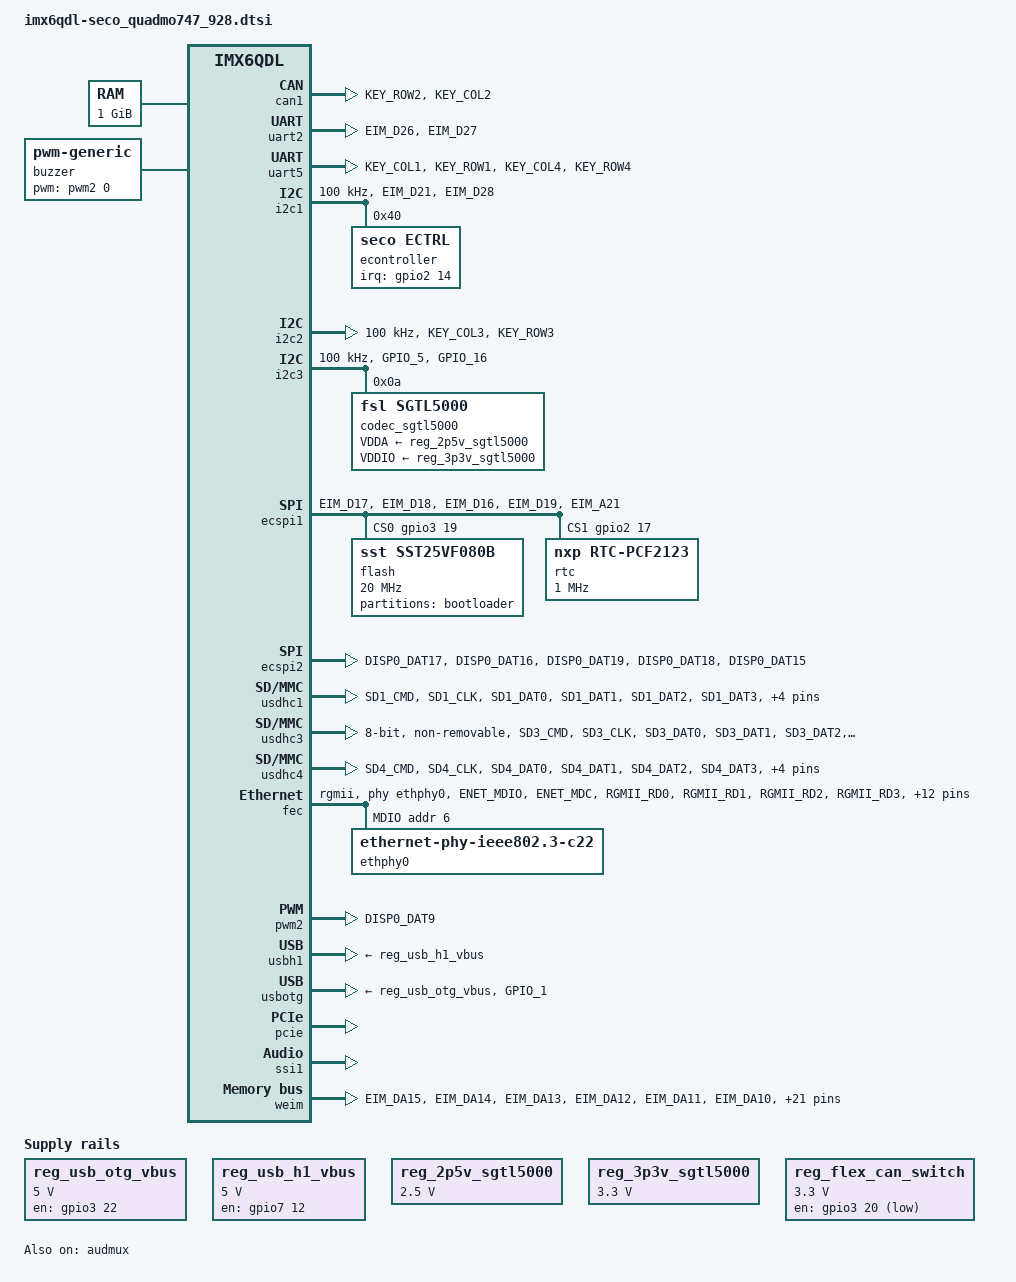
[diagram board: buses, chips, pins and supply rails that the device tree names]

#include <dt-bindings/gpio/gpio.h>
#include <dt-bindings/input/input.h>
#include <dt-bindings/pwm/pwm.h>
#include <dt-bindings/seco/ectrl.h>


/ {
	aliases {
		mxcfb0 = &mxcfb1;
		mxcfb1 = &mxcfb2;
		mxcfb2 = &mxcfb3;
		mxcfb3 = &mxcfb4;
		mmc0   = &usdhc3;
		mmc1   = &usdhc1;
		mmc2   = &usdhc4;
	};

	memory: memory {
		reg = <0x10000000 0x40000000>;
	};


/*  __________________________________________________________________________
 * |                                                                          |
 * |                                    POWER                                 |
 * |__________________________________________________________________________|
 */
	power_signal: power_signal {
		power-gpio = <&gpio2 13 0>;
	};
	

/*  __________________________________________________________________________
 * |                                                                          |
 * |                                 REGULATORS                               |
 * |__________________________________________________________________________|
 */
	regulators {
		compatible       = "simple-bus";
		#address-cells   = <1>;
		#size-cells      = <0>;

		reg_usb_otg_vbus: regulator@0 {
			compatible              = "regulator-fixed";
			reg                     = <0>;
			regulator-name          = "usb_otg_vbus";
			regulator-min-microvolt = <5000000>;
			regulator-max-microvolt = <5000000>;
			gpio                    = <&gpio3 22 0>;
			enable-active-high;
		};

		reg_usb_h1_vbus: regulator@1 {
			compatible              = "regulator-fixed";
			reg                     = <1>;
			regulator-name          = "usb_h1_vbus";
			pinctrl-0               = <&pinctrl_usb_reg>;
			regulator-min-microvolt = <5000000>;
			regulator-max-microvolt = <5000000>;
			gpio                    = <&gpio7 12 0>;
			enable-active-high;
			startup-delay-us        = <10>; /* USB2514 requires a POR of 1 us minimum */
		};

		reg_panel_on: regulator@2 {
			compatible              = "regulator-fixed";
			reg                     = <2>;
			regulator-name          = "reg_panel_on";
			regulator-min-microvolt = <3300000>;
			regulator-max-microvolt = <3300000>;
			gpio                    = <&gpio1 2 0>;
			enable-active-high;
			regulator-boot-on;
			regulator-always-on;
			status                  = "disabled";
		};

		reg_2p5v_sgtl5000: regulator@3 {
			compatible              = "regulator-fixed";
			reg                     = <3>;
			regulator-name          = "2P5V_sgtl5000";
			regulator-min-microvolt = <2500000>;
			regulator-max-microvolt = <2500000>;
			regulator-always-on;
			status                  = "okay";
		};

		reg_3p3v_sgtl5000: regulator@4 {
			compatible              = "regulator-fixed";
			reg                     = <4>;
			regulator-name          = "3P3V_sgtl5000";
			regulator-min-microvolt = <3300000>;
			regulator-max-microvolt = <3300000>;
			regulator-always-on;
			status                  = "okay";
		};


		/* select for mux between uart4 and flexcan (default is flexcan) */
		reg_uart_switch: regulator@5 {
			compatible              = "regulator-fixed";
			reg                     = <5>;
			regulator-name          = "uart4_enable";
			regulator-min-microvolt = <3300000>;
			regulator-max-microvolt = <3300000>;
			gpio                    = <&gpio3 20 0>;
			regulator-always-on;
			enable-active-high;
			status                  = "disabled";
		};

		reg_flex_can_switch: regulator@6 {
			compatible              = "regulator-fixed";
			reg                     = <6>;
			regulator-name          = "flexcan_enable";
			regulator-min-microvolt = <3300000>;
			regulator-max-microvolt = <3300000>;
			gpio                    = <&gpio3 20 0>;
			regulator-always-on;
			status                  = "okay";
		};

	};


/*  __________________________________________________________________________
 * |                                                                          |
 * |                                   VIDEO                                  |
 * |__________________________________________________________________________|
 */

	mxcfb1: fb@0 {
		compatible = "fsl,mxc_sdc_fb";
		disp_dev = "ldb";
		interface_pix_fmt = "RGB666";
		default_bpp = <16>;
		int_clk = <0>;
		late_init = <0>;
		status = "disabled";
	};

	mxcfb2: fb@1 {
		compatible = "fsl,mxc_sdc_fb";
		disp_dev = "hdmi";
		interface_pix_fmt = "RGB24";
		mode_str ="1920x1080M@60";
		default_bpp = <24>;
		int_clk = <0>;
		late_init = <0>;
		status = "disabled";
	};

	mxcfb3: fb@2 {
		compatible = "fsl,mxc_sdc_fb";
		disp_dev = "lcd";
		interface_pix_fmt = "RGB565";
		mode_str ="CLAA-WVGA";
		default_bpp = <16>;
		int_clk = <0>;
		late_init = <0>;
		status = "disabled";
	};

	mxcfb4: fb@3 {
		compatible = "fsl,mxc_sdc_fb";
		disp_dev = "ldb";
		interface_pix_fmt = "RGB666";
		default_bpp = <16>;
		int_clk = <0>;
		late_init = <0>;
		status = "disabled";
	};


	backlight: backlight {
		compatible               = "pwm-backlight";
		pwms                     = <&pwm1 0 5000000>;
		brightness-levels        = <0  4   8   12  16  20  24  28  32  36
		                            40  44  48  52  56  60  64  68  72  76
		                            80  84  88  92  96  100 104 108 112 116
		                            120 124 128 132 136 140 144 148 152 156
		                            160 164 168 172 176 180 184 188 192 196
		                            200 204 208 212 216 220 224 228 232 236
		                            240 244 248 252 255
		                           >;
		default-brightness-level = <64>;
		enable-gpios             = <&gpio1 4 0>;
		status                   = "disabled";
	};
};



/*  __________________________________________________________________________
 * |                                                                          |
 * |                                 CLOCKS                                   |
 * |__________________________________________________________________________|
 */
&clks {
	assigned-clocks =
		<&clks IMX6QDL_PLL4_BYPASS_SRC>,
 		<&clks IMX6QDL_PLL4_BYPASS>,
		<&clks IMX6QDL_CLK_EIM_SLOW_SEL>,
		<&clks IMX6QDL_CLK_EIM_SLOW_PODF>,
		<&clks IMX6QDL_CLK_PLL4_POST_DIV>;

	assigned-clock-parents =
		<&clks IMX6QDL_CLK_LVDS2_IN>,
		<&clks IMX6QDL_PLL4_BYPASS_SRC>,
		<&clks IMX6QDL_CLK_AXI>;

	assigned-clock-rates = <0>, <0>, <0>, <8>, <24576000>;
};



/*  __________________________________________________________________________
 * |                                                                          |
 * |                                    CAN                                   |
 * |__________________________________________________________________________|
 */
/*  Shared with UART4  */
&can1 {
	pinctrl-names = "default";
	pinctrl-0     = <&pinctrl_flexcan1>;
	status        = "okay";
};
/*  __________________________________________________________________________
 * |__________________________________________________________________________|
 */


/*  __________________________________________________________________________
 * |                                                                          |
 * |                                    UART                                  |
 * |__________________________________________________________________________|
 */
/*  Serial Debug  */
&uart2 {
	pinctrl-names = "default";
	pinctrl-0     = <&pinctrl_uart2>;
	status        = "okay";
};

/*  General Pourpose - shared with CAN1  */
&uart4 {
	pinctrl-names = "default";
	pinctrl-0     = <&pinctrl_uart4>;
	status        = "disabled";
};

/*  General Pourpose  */
&uart5 {
	pinctrl-names = "default";
	pinctrl-0     = <&pinctrl_uart5>;
	dma-names     = "","tx";
	status        = "okay";
};
/*  __________________________________________________________________________
 * |__________________________________________________________________________|
 */


/*  __________________________________________________________________________
 * |                                                                          |
 * |                            I2C INTERFACE/DEVICE                          |
 * |__________________________________________________________________________|
 */
&i2c1 {
	clock-frequency = <100000>;
	pinctrl-names   = "default";
	pinctrl-0       = <&pinctrl_i2c1>;
	status          = "okay";

	econtroller: ectrl@40 {
		compatible       = "seco,ectrl";
		reg              = <0x40>;

		interrupt-parent = <&gpio2>;
		interrupts       = <14 2>;

		events           = <ECTRL_EVNT_PWR_BTN  ECTRL_EVNT_RST_BTN
							ECTRL_EVNT_SLEEP  ECTRL_EVNT_BATTERY
							ECTRL_EVNT_LID  ECTRL_EVNT_WAKE
						>;

		boot_device {

			bootdev@0 {
				id    = <ECTRL_BOOTDEV_USDHC4>;
				label = "internal uSD";
			};

			bootdev@1 {
				id    = <ECTRL_BOOTDEV_USDHC1>;
				label = "external SD";
			};

			bootdev@2 {
				id    = <ECTRL_BOOTDEV_EMMC>;
				label = "on board eMMC";
			};

			bootdev@3 {
				id    = <ECTRL_BOOTDEV_SPI>;
				label = "on board SPI flash";
			};

		};

	};
};


&i2c2 {
	clock-frequency = <100000>;
	pinctrl-names   = "default";
	pinctrl-0       = <&pinctrl_i2c2>;
	status          = "okay";

	hdmi_edid: edid@50 {
		compatible = "fsl,imx6-hdmi-i2c";
		reg        = <0x50>;
		status     = "disabled";
	};

};


&i2c3 {
	clock-frequency = <100000>;
	pinctrl-names   = "default";
	pinctrl-0       = <&pinctrl_i2c3>;
	status          = "okay";

	codec_sgtl5000: sgtl5000@0a {
		compatible   = "fsl,sgtl5000";
		reg          = <0x0a>;
		clocks       = <&clks IMX6QDL_CLK_CKO>;
		VDDA-supply  = <&reg_2p5v_sgtl5000>;
		VDDIO-supply = <&reg_3p3v_sgtl5000>;
		status       = "okay";
	};

};
/*  __________________________________________________________________________
 * |__________________________________________________________________________|
 */


/*  __________________________________________________________________________
 * |                                                                          |
 * |                            SPI INTERFACE/DEVICE                          |
 * |__________________________________________________________________________|
 */
&ecspi1 {
	fsl,spi-num-chipselects = <2>;
	cs-gpios                = <&gpio3 19 0>, <&gpio2 17 0>;
	pinctrl-names           = "default";
	pinctrl-0               = <&pinctrl_ecspi1>;
	status                  = "okay";


	flash: m25p80@0 {
		#address-cells    = <1>;
		#size-cells       = <0>;

		compatible        = "sst,sst25vf080b", "jedec,spi-nor";
		reg               = <0>;
		spi-max-frequency = <20000000>;

		partitions {
			compatible = "fixed-partitions";
			#address-cells = <1>;
			#size-cells = <1>;

			partition@0 {
				label = "bootloader";
				reg   = <0x00000000 0x00100000>;
			};
		};
	};

	rtc: pcf2123@1 {
		compatible        = "nxp,rtc-pcf2123";
		reg               = <1>;
		spi-max-frequency = <1000000>;
		spi-cs-high;
    };

};


&ecspi2 {
	fsl,spi-num-chipselects = <2>;
	cs-gpios                = <&gpio5 12  0>, <&gpio5 9 0>;
	pinctrl-names           = "default";
	pinctrl-0               = <&pinctrl_ecspi2>;
	status                  = "okay";

//	spidev@0 {
//		compatible          = "spidev";
//		spi-max-frequency   = <1000000>;
//		reg                 = <0>;
//	};
};
/*  __________________________________________________________________________
 * |__________________________________________________________________________|
 */


/*  __________________________________________________________________________
 * |                                                                          |
 * |                                   USDHC                                  |
 * |__________________________________________________________________________|
 */
/*  external uSD  */
&usdhc1 {
	pinctrl-names = "default";
	pinctrl-0     = <&pinctrl_usdhc1>;
	cd-gpios      = <&gpio6 15 GPIO_ACTIVE_LOW>;
	wp-gpios      = <&gpio5 20 GPIO_ACTIVE_HIGH>;
	keep-power-in-suspend;
	enable-sdio-wakeup;
	no-1-8-v;
	status        = "okay";
};


/*  eMMC  */
&usdhc3 {
	pinctrl-names = "default";
	pinctrl-0     = <&pinctrl_usdhc3>;
	bus-width     = <8>;
	no-1-8-v;
	non-removable;
	keep-power-in-suspend;
	status        = "okay";
};


/*  uSD on board  */
&usdhc4 {
	pinctrl-names = "default";
	pinctrl-0     = <&pinctrl_usdhc4>;
	cd-gpios      = <&gpio2 6 GPIO_ACTIVE_LOW>;
	wp-gpios      = <&gpio2 7 GPIO_ACTIVE_HIGH>;
	keep-power-in-suspend;
	enable-sdio-wakeup;
	no-1-8-v;
	status        = "okay";
};
/*  __________________________________________________________________________
 * |__________________________________________________________________________|
 */


/*  __________________________________________________________________________
 * |                                                                          |
 * |                                  ETHERNET                                |
 * |__________________________________________________________________________|
 */
&fec {
	pinctrl-names        = "default";
	pinctrl-0            = <&pinctrl_enet>;
	phy-mode             = "rgmii";
	phy-reset-gpios      = <&gpio3 23 GPIO_ACTIVE_LOW>;
	phy-handle           = <&ethphy0>;
	phy-reset-duration   = <10>;
	phy-reset-post-delay = <100>;
	fsl,magic-packet;
	status             = "okay";

	mdio: mdio {
		#address-cells = <1>;
		#size-cells = <0>;

		ethphy0: ethernet-phy@6 {
			compatible = "ethernet-phy-ieee802.3-c22";
			reg = <6>;
			// interrupt-parent = <&gpio4>;
			// interrupts = <16 IRQ_TYPE_LEVEL_LOW>;
			status = "okay";
		};
	};
};
/*  __________________________________________________________________________
 * |__________________________________________________________________________|
 */



/*  __________________________________________________________________________
 * |                                                                          |
 * |                                     PWM                                  |
 * |__________________________________________________________________________|
 */
&pwm1 {
	pinctrl-names = "default";
	pinctrl-0     = <&pinctrl_pwm1>;
	status        = "disabled";
};


&pwm2 {
	pinctrl-names = "default";
	pinctrl-0     = <&pinctrl_pwm2>;
	status        = "okay";
};
/*  __________________________________________________________________________
 * |__________________________________________________________________________|
 */



/*  __________________________________________________________________________
 * |                                                                          |
 * |                                     USB                                  |
 * |__________________________________________________________________________|
 */
&usbh1 {
	vbus-supply = <&reg_usb_h1_vbus>;
	status      = "okay";
};


&usbotg {
	vbus-supply           = <&reg_usb_otg_vbus>;
	pinctrl-names         = "default";
	pinctrl-0             = <&pinctrl_usbotg>;
	disable-over-current;
	status                = "okay";
};
/*  __________________________________________________________________________
 * |__________________________________________________________________________|
 */


/*  __________________________________________________________________________
 * |                                                                          |
 * |                                 VIDEO OUTPUT                             |
 * |__________________________________________________________________________|
 */
&hdmi_audio {
	status = "disabled";
};


&hdmi_core {
	ipu_id  = <0>;
	disp_id = <0>;
	status  = "disabled";
};


&hdmi_video {
	fsl,phy_reg_vlev    = <0x0294>;
	fsl,phy_reg_cksymtx = <0x800d>;
	status              = "disabled";
};
/*  __________________________________________________________________________
 * |__________________________________________________________________________|
 */


/*  __________________________________________________________________________
 * |                                                                          |
 * |                                    PCI                                   |
 * |__________________________________________________________________________|
 */
&pcie {
	status = "okay";
};
/*  __________________________________________________________________________
 * |__________________________________________________________________________|
 */


/*  __________________________________________________________________________
 * |                                                                          |
 * |                                   AUDIO                                  |
 * |__________________________________________________________________________|
 */
/*  __________________________________________________________________________
 * |____________________________ AUDIO VT1613 ________________________________|
 */
/*  __________________________________________________________________________
 * |___________________________ AUDIO SGTL5000 _______________________________|
 */

 / {
    sound_sgtl5000: sound_sgtl5000 {
        compatible     = "fsl,imx6q-seco-sgtl5000",
                         "fsl,imx-audio-sgtl5000";
        model          = "fsl,imx6q-seco-sgtl5000";
        cpu-dai        = <&ssi1>;
        ssi-controller = <&ssi1>;
        audio-codec    = <&codec_sgtl5000>;
        audio-routing  = "MIC_IN", "Mic Jack",
                         "Mic Jack", "Mic Bias",
                         "Headphone Jack", "HP_OUT";
        mux-int-port   = <1>;
        mux-ext-port   = <6>;
        status         = "okay";
    };
};


&ssi1 {
    fsl,mode    = "i2s-slave";
    status      = "okay";
	cell-index  = <0>;
};


&audmux {
	pinctrl-names = "default";
	pinctrl-0     = <&pinctrl_audmux>;
	status        = "okay";
};


/ {
	buzzer {
		compatible      = "pwm-generic";
		pwms            = <&pwm2 0 500000000>;
		max-duty        = <255>;
		dft-duty        = <128>;
		pwm-period-ns   = <370000>;
		period-ns-min   = <150>;
		period-ns-max   = <50000000>;
		pwm-id          = <2>;
		enable          = <0>;
	};
};
/*  __________________________________________________________________________
 * |__________________________________________________________________________|
 */

/ {
	fan: fan {
		compatible      = "pwm-generic";
		pwms            = <&cpwm 0 500000>;
		max-duty        = <255>;
		dft-duty        = <128>;
		pwm-period-ns   = <500000>;
		period-ns-min   = <100000>;
		period-ns-max   = <500000>;
		pwm-id          = <3>;
		enable          = <0>;
		status          = "disabled";
	};
};


 /*  __________________________________________________________________________
 * |                                                                          |
 * |                                   BUS WEIM                               |
 * |__________________________________________________________________________|
 */

&weim {
	pinctrl-names  = "default";
	pinctrl-0      = <&pinctrl_weim_nor &pinctrl_weim_cs &pinctrl_cgpio_exp>;
	#address-cells = <2>;
	#size-cells    = <1>;
	ranges         = <0 0 0x08000000 0x08000000>;
    	status         = "okay";


	cpld: cpld_seco@0,0 {
		compatible         = "seco,cpld";
		#address-cells     = <1>;
		#size-cells        = <0>;
		reg                = <0 0 0x20000>;
		fsl,weim-cs-timing = <0x0191088F 0x00001000 0x14000000 0x00000008 0x03000000 0x00000000>;
		fsl,weim-wcr       = <0x00000121>;
        	status             = "disabled";


		cgpio_exp: cgpio_exp@0 {
			compatible       = "seco,cgpio_expander";
			reg              = <0>;
			type             = <0>;
			gpio-controller;
			#gpio-cells      = <2>;
			interrupt-controller;
			#interrupt-cells = <2>;
			interrupt-parent = <&gpio6>;
			interrupts       = <14 1>;
			status           = "disabled";
		};


		lpc_bridge: lpc_bridge@1 {
			compatible       = "seco,lpc_bridge";
			#address-cells   = <1>;
			#size-cells      = <0>;
			reg              = <1>;
			type             = <1>;
			interrupt-controller;
			#interrupt-cells = <2>;
			interrupt-parent = <&gpio6>;
			interrupts       = <14 2>;
			status           = "disabled";

			superio_xr28v382: superio@0 {
				compatible     = "MaxLinear,xr28v382";
				reg            = <0>;
				#address-cells = <1>;
				#size-cells    = <0>;
				status         = "disabled";


				uartA_xr28v382: uartA {
					compatible       = "MaxLinear,xr28v382_A_16550a";
					device_id        = <0>;
					uart-clk         = <1843200>;
					membase          = <0x03F8>;
					reg-shift        = <0>;
					fifo-size        = <16>;
					interrupt-parent = <&lpc_bridge>;
					interrupts       = <3 2>;
					pl-size          = <0>;
				};

				uartB_xr28v382: uartB {
					compatible       = "MaxLinear,xr28v382_B_16550a";
					device_id        = <1>;
					uart-clk         = <1843200>;
					membase          = <0x02F8>;
					reg-shift        = <0>;
					fifo-size        = <16>;
					interrupt-parent = <&lpc_bridge>;
					interrupts       = <4 2>;
					pl_size          = <0>;
				};

			};
			

			superio_w83627dhg: superio@1 {
				compatible     = "nuvoton,w83627dhg";
				reg            = <1>;
				#address-cells = <1>;
				#size-cells    = <0>;
				status         = "disabled";

				gpio_exp: gpio_exp {
					compatible = "nuvoton,w83627dhg_gpio";
					gpio_id    = <2>;
				};

				uartA_w83627dhg: uartA {
					compatible       = "nuvoton,w83627dhg_A_16550a";
					device_id        = <2>;
					uart-clk         = <24000000>;
					membase          = <0x03F8>;
					reg-shift        = <0>;
					fifo-size        = <16>;
					interrupt-parent = <&lpc_bridge>;
					interrupts       = <4 4>;
					pl-size          = <30>;
					rs485;
					half-duplex;
				};

				uartB_w83627dhg: uartB {
					compatible       = "nuvoton,w83627dhg_B_16550a";
					device_id        = <3>;
					uart-clk         = <24000000>;
					membase          = <0x02F8>;
					reg-shift        = <0>;
					fifo-size        = <16>;
					interrupt-parent = <&lpc_bridge>;
					interrupts       = <3 4>;
					pl_size          = <0>;
				};
			};
			
		};

		cpwm: cpwm@2 {
			compatible       = "seco,cpwm";
			#pwm-cells       = <2>;
			reg              = <2>;
			type             = <2>;
			status           = "disabled";
		};

	};

};
/*  __________________________________________________________________________
 * |__________________________________________________________________________|
 */


/*  __________________________________________________________________________
 * |                                                                          |
 * |                                    IOMUX                                 |
 * |__________________________________________________________________________|
 */
&iomuxc {
	pinctrl-names = "default";
	pinctrl-0 = <&pinctrl_hog>;

	imx6qdl-quadmo747_928 {

		pinctrl_hog: hoggrp {
			fsl,pins = <
				/*  LVDS  */
				MX6QDL_PAD_GPIO_4__GPIO1_IO04                0x1f071
				MX6QDL_PAD_GPIO_2__GPIO1_IO02                0x1f071
				/*  USB  */
				MX6QDL_PAD_EIM_D22__GPIO3_IO22               0x1f071
				MX6QDL_PAD_GPIO_17__GPIO7_IO12               0x1f071
				/*  ECTRL INTERRUPT  */
				MX6QDL_PAD_SD4_DAT6__GPIO2_IO14              0x1f071
				/*  PWR EMBEDDED CONTROLLER  */
				MX6QDL_PAD_SD4_DAT5__GPIO2_IO13              0x1f071
				/*   UART4 - FLEXCAN MUX SELECTOR  */
				MX6QDL_PAD_EIM_D20__GPIO3_IO20               0x1f071
			>;
		};


/*  __________________________________________________________________________
 * |________________________________ UART ____________________________________|
 */
		/* DEBUG UART */
		pinctrl_uart2: uart2grp {
			fsl,pins = <
				MX6QDL_PAD_EIM_D26__UART2_TX_DATA            0x1b0b1
				MX6QDL_PAD_EIM_D27__UART2_RX_DATA            0x1b0b1
			>;
		};

		pinctrl_uart4: uart4grp {
			fsl,pins = <
				MX6QDL_PAD_KEY_COL0__UART4_TX_DATA           0x1b0b1
				MX6QDL_PAD_KEY_ROW0__UART4_RX_DATA           0x1b0b1
			>;
		};

		pinctrl_uart5: uart5grp {
			fsl,pins = <
				MX6QDL_PAD_KEY_COL1__UART5_TX_DATA           0x1b0b1
				MX6QDL_PAD_KEY_ROW1__UART5_RX_DATA           0x1b0b1
				MX6QDL_PAD_KEY_COL4__UART5_RTS_B             0x1b0b1
				MX6QDL_PAD_KEY_ROW4__UART5_CTS_B             0x1b0b1

			>;
		};


/*  __________________________________________________________________________
 * |_________________________________ I2C ____________________________________|
 */
		pinctrl_i2c1: i2c1grp {
			fsl,pins = <
				MX6QDL_PAD_EIM_D21__I2C1_SCL                 0x4001b8b1
				MX6QDL_PAD_EIM_D28__I2C1_SDA                 0x4001b8b1
			>;
		};

		pinctrl_i2c2: i2c2grp {
			fsl,pins = <
				MX6QDL_PAD_KEY_COL3__I2C2_SCL                0x4001b8b1
				MX6QDL_PAD_KEY_ROW3__I2C2_SDA                0x4001b8b1
			 >;
		};

		pinctrl_i2c3: i2c3grp {
			fsl,pins = <
				MX6QDL_PAD_GPIO_5__I2C3_SCL                  0x4001b8b1
				MX6QDL_PAD_GPIO_16__I2C3_SDA                 0x4001b8b1
			>;
		};

/*  __________________________________________________________________________
 * |_________________________________ SPI ____________________________________|
 */
		pinctrl_ecspi1: ecspi1grp {
			fsl,pins = <
				MX6QDL_PAD_EIM_D17__ECSPI1_MISO              0x100b1
				MX6QDL_PAD_EIM_D18__ECSPI1_MOSI              0x100b1
				MX6QDL_PAD_EIM_D16__ECSPI1_SCLK              0x100b1
				/*  CS SPI 1  */
				MX6QDL_PAD_EIM_D19__GPIO3_IO19               0x80000000
				MX6QDL_PAD_EIM_A21__GPIO2_IO17               0x80000000

			>;
		};

		pinctrl_ecspi2: ecspi2grp {
			fsl,pins = <
				MX6QDL_PAD_DISP0_DAT17__ECSPI2_MISO          0x100b1
				MX6QDL_PAD_DISP0_DAT16__ECSPI2_MOSI          0x100b1
				MX6QDL_PAD_DISP0_DAT19__ECSPI2_SCLK          0x100b1
				/*  CS SPI 2  */
				MX6QDL_PAD_DISP0_DAT18__GPIO5_IO12           0x80000000
				MX6QDL_PAD_DISP0_DAT15__GPIO5_IO09           0x80000000
			>;
		};


/*  __________________________________________________________________________
 * |________________________________ USDHC ___________________________________|
 */
		pinctrl_usdhc1: usdhc1grp {
			fsl,pins = <
				MX6QDL_PAD_SD1_CMD__SD1_CMD                  0x17059
				MX6QDL_PAD_SD1_CLK__SD1_CLK                  0x10059
				MX6QDL_PAD_SD1_DAT0__SD1_DATA0               0x17059
				MX6QDL_PAD_SD1_DAT1__SD1_DATA1               0x17059
				MX6QDL_PAD_SD1_DAT2__SD1_DATA2               0x17059
				MX6QDL_PAD_SD1_DAT3__SD1_DATA3               0x17059
				MX6QDL_PAD_NANDF_CS2__GPIO6_IO15             0x80000000
				MX6QDL_PAD_CSI0_DATA_EN__GPIO5_IO20          0x80000000
			>;
		};

		pinctrl_usdhc3: usdhc3grp {
			fsl,pins = <
				MX6QDL_PAD_SD3_CMD__SD3_CMD                  0x17059
				MX6QDL_PAD_SD3_CLK__SD3_CLK                  0x10059
				MX6QDL_PAD_SD3_DAT0__SD3_DATA0               0x17059
				MX6QDL_PAD_SD3_DAT1__SD3_DATA1               0x17059
				MX6QDL_PAD_SD3_DAT2__SD3_DATA2               0x17059
				MX6QDL_PAD_SD3_DAT3__SD3_DATA3               0x17059
				MX6QDL_PAD_SD3_DAT4__SD3_DATA4               0x17059
				MX6QDL_PAD_SD3_DAT5__SD3_DATA5               0x17059
				MX6QDL_PAD_SD3_DAT6__SD3_DATA6               0x17059
				MX6QDL_PAD_SD3_DAT7__SD3_DATA7               0x17059
					>;
		};

		pinctrl_usdhc4: usdhc4grp {
			fsl,pins = <
				MX6QDL_PAD_SD4_CMD__SD4_CMD                  0x17059
				MX6QDL_PAD_SD4_CLK__SD4_CLK                  0x10059
				MX6QDL_PAD_SD4_DAT0__SD4_DATA0               0x17059
				MX6QDL_PAD_SD4_DAT1__SD4_DATA1               0x17059
				MX6QDL_PAD_SD4_DAT2__SD4_DATA2               0x17059
				MX6QDL_PAD_SD4_DAT3__SD4_DATA3               0x17059
				MX6QDL_PAD_NANDF_D6__GPIO2_IO06              0x80000000
				MX6QDL_PAD_NANDF_D7__GPIO2_IO07              0x80000000

			>;
		};

/*  __________________________________________________________________________
 * |__________________________________ CAN ___________________________________|
 */
		pinctrl_flexcan1: flexcan1grp {
			fsl,pins = <
				MX6QDL_PAD_KEY_ROW2__FLEXCAN1_RX             0x80000000
				MX6QDL_PAD_KEY_COL2__FLEXCAN1_TX             0x80000000
			>;
		};

/*  __________________________________________________________________________
 * |______________________________ ETHERNET __________________________________|
 */
		pinctrl_enet: enetgrp {
			fsl,pins = <
				MX6QDL_PAD_ENET_MDIO__ENET_MDIO              0x1b0b0
				MX6QDL_PAD_ENET_MDC__ENET_MDC                0x1b0b0
				MX6QDL_PAD_RGMII_RD0__RGMII_RD0              0x1b0b0
				MX6QDL_PAD_RGMII_RD1__RGMII_RD1              0x1b0b0
				MX6QDL_PAD_RGMII_RD2__RGMII_RD2              0x1b0b0
				MX6QDL_PAD_RGMII_RD3__RGMII_RD3              0x1b0b0
				MX6QDL_PAD_RGMII_RX_CTL__RGMII_RX_CTL        0x1b0b0
				MX6QDL_PAD_RGMII_TD0__RGMII_TD0              0x1b0b0
				MX6QDL_PAD_RGMII_TD1__RGMII_TD1              0x1b0b0
				MX6QDL_PAD_RGMII_TD2__RGMII_TD2              0x1b0b0
				MX6QDL_PAD_RGMII_TD3__RGMII_TD3              0x1b0b0
				MX6QDL_PAD_RGMII_TX_CTL__RGMII_TX_CTL        0x1b0b0
				MX6QDL_PAD_RGMII_RXC__RGMII_RXC              0x1b0b0
				MX6QDL_PAD_RGMII_TXC__RGMII_TXC              0x1b0b0
				MX6QDL_PAD_ENET_REF_CLK__ENET_TX_CLK         0x1b0b0

				/*  Phy Interrupt  */
				MX6QDL_PAD_ENET_TX_EN__GPIO1_IO28            0x1f071
				/*  ENET RESET */
				MX6QDL_PAD_EIM_D23__GPIO3_IO23               0x1f071
			>;
		};


/*  __________________________________________________________________________
 * |__________________________________ PWM ___________________________________|
 */
		/*  Backlight  */
		pinctrl_pwm1: pwm1grp {
			fsl,pins = <
				MX6QDL_PAD_GPIO_9__PWM1_OUT                  0x1b0b1
			>;
		};

		pinctrl_pwm2: pwm2grp {
			fsl,pins = <
				MX6QDL_PAD_DISP0_DAT9__PWM2_OUT	     	     0x1b0b1
			>;
		};

/*  __________________________________________________________________________
 * |__________________________________ USB ___________________________________|
 */
		pinctrl_usb_h1: usbh1grp {
			fsl,pins = <
				MX6QDL_PAD_NANDF_CS2__CCM_CLKO2              0x130b0
			>;
		};

		pinctrl_usbotg: usbotggrp {
			fsl,pins = <
				MX6QDL_PAD_GPIO_1__USB_OTG_ID                0x17059
			>;
		};

		pinctrl_usb_reg: usbreggrp {
			fsl,pins = <
				MX6QDL_PAD_GPIO_17__GPIO7_IO12               0x1b0b0
			>;
		};

/*  __________________________________________________________________________
 * |_____________________________ AUDIO AC97 _________________________________|
 */
		ac97link_running: ac97link_runninggrp {
			fsl,pins = <
				MX6QDL_PAD_DI0_PIN2__AUD6_TXD                0x130b0
				MX6QDL_PAD_DI0_PIN3__AUD6_TXFS               0x130b0
				MX6QDL_PAD_DI0_PIN4__AUD6_RXD                0x130b0
				MX6QDL_PAD_DI0_PIN15__AUD6_TXC               0x130b0
			>;
		};

		ac97link_reset: ac97link_resetgrp {
			fsl,pins = <
				/*  AUD_SYNC  */
				MX6QDL_PAD_DI0_PIN3__GPIO4_IO19              0x1f071
				/*  AUD_SDO  */
				MX6QDL_PAD_DI0_PIN2__GPIO4_IO18              0x1f071
				/*  RESET  */
				MX6QDL_PAD_DISP0_DAT2__GPIO4_IO23               0x1f071
			>;
		};

		ac97link_warm_reset: ac97link_warm_resetgrp {
			fsl,pins = <
				MX6QDL_PAD_DI0_PIN3__GPIO4_IO19              0x80000000
			>;
		};

		pinctrl_audmux: audmuxgrp {
			fsl,pins = <
				MX6QDL_PAD_DI0_PIN2__AUD6_TXD                0x130b0
				MX6QDL_PAD_DI0_PIN3__AUD6_TXFS               0x130b0
				MX6QDL_PAD_DI0_PIN4__AUD6_RXD                0x130b0
				MX6QDL_PAD_DI0_PIN15__AUD6_TXC               0x130b0
				MX6QDL_PAD_DISP0_DAT2__GPIO4_IO23               0x1f071
			>;
		};

/*  __________________________________________________________________________
 * |______________________________ BUS WEIM __________________________________|
 */
		pinctrl_cgpio_exp: cgpio_exp {
			fsl,pins = <		
				MX6QDL_PAD_NANDF_ALE__GPIO6_IO08    0x1f071
				MX6QDL_PAD_NANDF_CS3__GPIO6_IO16            0x1f071
			>;
		};

		pinctrl_weim_cs: weimcs0grp {
			fsl,pins = <
				MX6QDL_PAD_EIM_CS0__EIM_CS0_B                0xb0b1
				MX6QDL_PAD_EIM_CS1__EIM_CS1_B                0xb0b1
			>;
		};

		pinctrl_weim_nor: weimnorgrp {
			fsl,pins = <
				MX6QDL_PAD_EIM_DA15__EIM_AD15                0xb0b1
				MX6QDL_PAD_EIM_DA14__EIM_AD14                0xb0b1
				MX6QDL_PAD_EIM_DA13__EIM_AD13                0xb0b1
				MX6QDL_PAD_EIM_DA12__EIM_AD12                0xb0b1
				MX6QDL_PAD_EIM_DA11__EIM_AD11                0xb0b1
				MX6QDL_PAD_EIM_DA10__EIM_AD10                0xb0b1
				MX6QDL_PAD_EIM_DA9__EIM_AD09                 0xb0b1
				MX6QDL_PAD_EIM_DA8__EIM_AD08                 0xb0b1
				MX6QDL_PAD_EIM_DA7__EIM_AD07                 0xb0b1
				MX6QDL_PAD_EIM_DA6__EIM_AD06                 0xb0b1
				MX6QDL_PAD_EIM_DA5__EIM_AD05                 0xb0b1
				MX6QDL_PAD_EIM_DA4__EIM_AD04                 0xb0b1
				MX6QDL_PAD_EIM_DA3__EIM_AD03                 0xb0b1
				MX6QDL_PAD_EIM_DA2__EIM_AD02                 0xb0b1
				MX6QDL_PAD_EIM_DA1__EIM_AD01                 0xb0b1
				MX6QDL_PAD_EIM_DA0__EIM_AD00                 0xb0b1

				MX6QDL_PAD_EIM_OE__EIM_OE_B                  0xb0b1
				MX6QDL_PAD_EIM_RW__EIM_RW                    0xb0b1
				MX6QDL_PAD_EIM_LBA__EIM_LBA_B                0xb0b1

				MX6QDL_PAD_EIM_EB0__EIM_EB0_B                0xb0b1
				MX6QDL_PAD_EIM_EB1__EIM_EB1_B                0xb0b1
				MX6QDL_PAD_EIM_EB3__EIM_EB3_B                0xb0b1
				MX6QDL_PAD_NANDF_CS1__GPIO6_IO14             0x1f071
			>;
		};

	};
};
/*  __________________________________________________________________________
 * |__________________________________________________________________________|
 */
